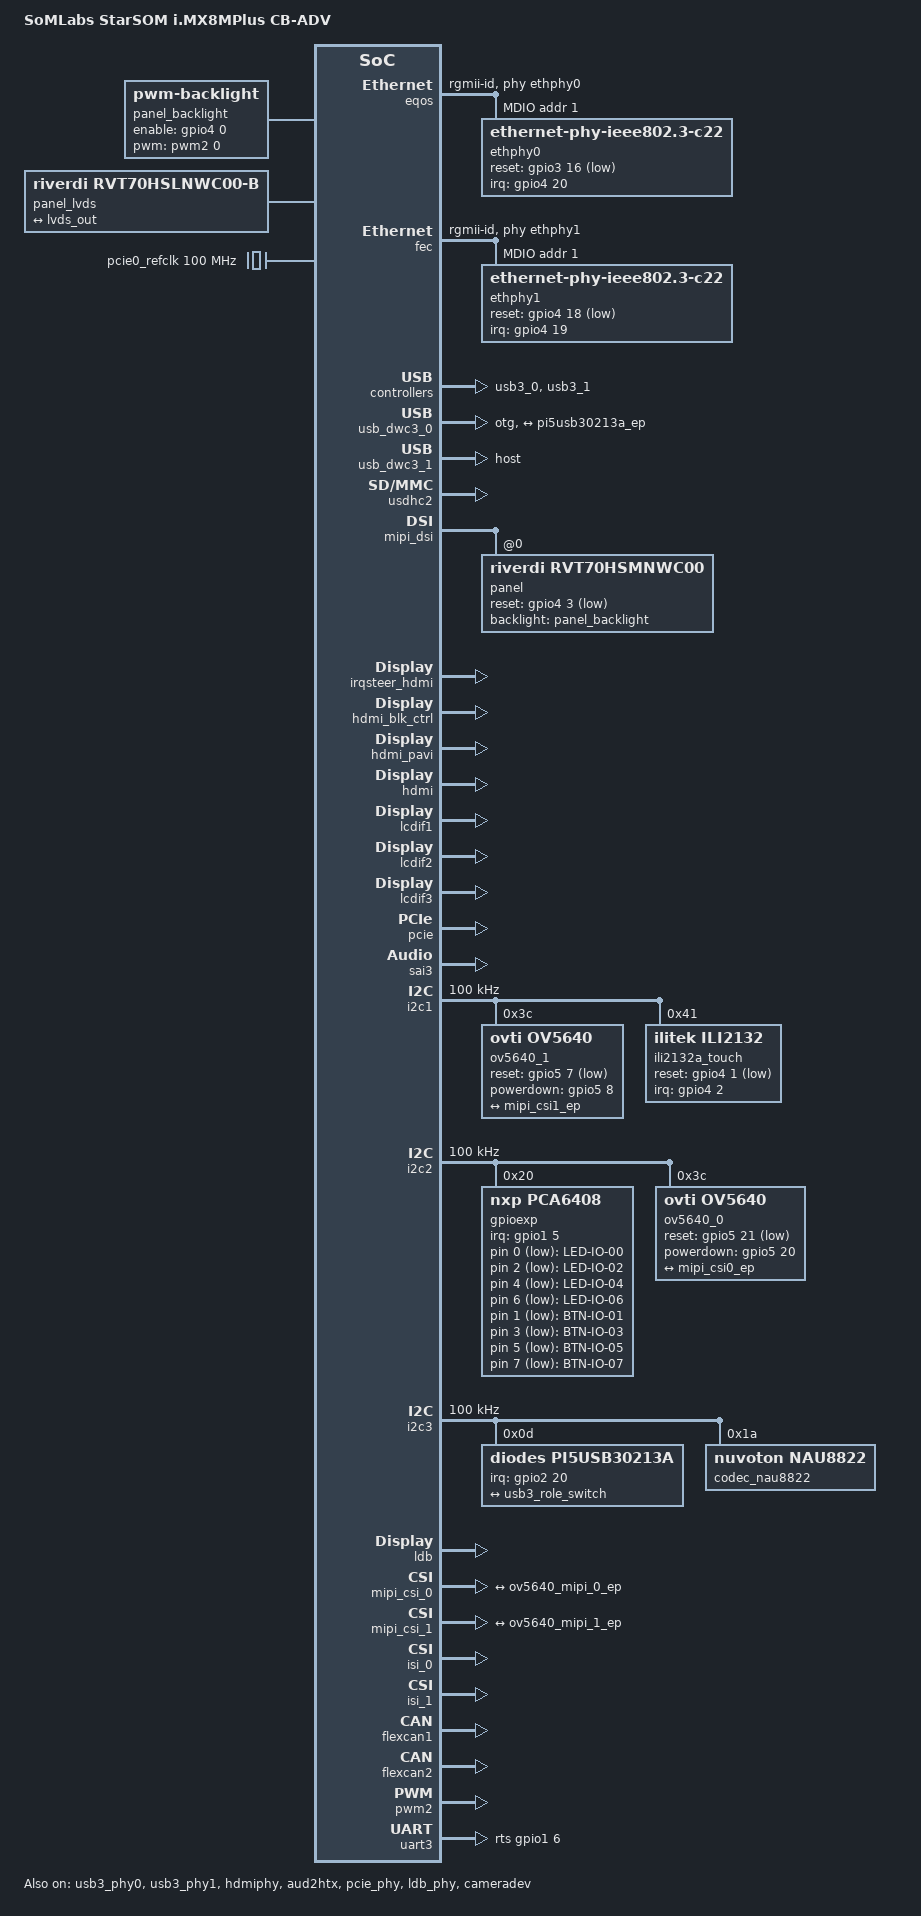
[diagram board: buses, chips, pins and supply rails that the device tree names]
// SPDX-License-Identifier: (GPL-2.0+ OR MIT)
/*
 * Copyright 2026 SomLabs
 *
 */

#include <dt-bindings/phy/phy-imx8-pcie.h>
#include <dt-bindings/pwm/pwm.h>

#include "starsom-8mp.dtsi"

#define LVDS_CHANNEL_0


/ {
        model = "SoMLabs StarSOM i.MX8MPlus CB-ADV";

	cb_leds {
		compatible = "gpio-leds";

		led-io-00 {
			label = "LED-IO-00";
			gpios = <&gpioexp 0 1>;
			default-state = "off";
		};
		led-io-02 {
			label = "LED-IO-02";
			gpios = <&gpioexp 2 1>;
			default-state = "off";
		};
		led-io-04 {
			label = "LED-IO-04";
			gpios = <&gpioexp 4 1>;
			default-state = "off";
		};
		led-io-06 {
			label = "LED-IO-06";
			gpios = <&gpioexp 6 1>;
			default-state = "off";
		};
	};

	gpio_buttons: gpio_buttons0 {
		compatible = "gpio-keys";
		poll-interval = <100>;

		switch1 {
			label = "BTN-IO-01";
			linux,code = <0x100>;
			gpios = <&gpioexp 1 GPIO_ACTIVE_LOW>;
		};

		switch2 {
			label = "BTN-IO-03";
			linux,code = <0x101>;
			gpios = <&gpioexp 3 GPIO_ACTIVE_LOW>;
		};

		switch3 {
			label = "BTN-IO-05";
			linux,code = <0x102>;
			gpios = <&gpioexp 5 GPIO_ACTIVE_LOW>;
		};

		switch4 {
			label = "BTN-IO-07";
			linux,code = <0x103>;
			gpios = <&gpioexp 7 GPIO_ACTIVE_LOW>;
		};
	};

        panel_backlight: panel-backlight {
                compatible = "pwm-backlight";
                pinctrl-names = "default";
                pinctrl-0 = <&pinctrl_panel_backlight_en>;
                pwms = <&pwm2 0 25000 PWM_POLARITY_INVERTED>;

                brightness-levels = < 0  1  2  3  4  5  6  7  8  9
                                     10 11 12 13 14 15 16 17 18 19
                                     20 21 22 23 24 25 26 27 28 29
                                     30 31 32 33 34 35 36 37 38 39
                                     40 41 42 43 44 45 46 47 48 49
                                     50 51 52 53 54 55 56 57 58 59
                                     60 61 62 63 64 65 66 67 68 69
                                     70 71 72 73 74 75 76 77 78 79
                                     80 81 82 83 84 85 86 87 88 89
                                     90 91 92 93 94 95 96 97 98 99
                                     100>;
                default-brightness-level = <80>;

                enable-gpios = <&gpio4 0 0>;
        };

        panel_lvds {
                compatible = "riverdi,rvt70hslnwc00-b";
                port {
                        panel_lvds_in: endpoint {
                                remote-endpoint = <&lvds_out>;
                        };
                };
        };

        sound {
                /* generic sound card */
                compatible = "simple-audio-card";
                simple-audio-card,name = "nau8822";

                simple-audio-card,widgets =
                        "Headphones", "Headphones",
                        "Line Out", "Line Out",
                        "Speaker", "Speaker",
                        "Microphone", "Mic In";
                simple-audio-card,routing =
                        "Headphones", "LHP",
                        "Headphones", "RHP",
                        "Speaker", "LSPK",
                        "Speaker", "RSPK",
                        "Line Out", "AUXOUT1",
                        "Line Out", "AUXOUT2",
                        "LMICP",    "Mic In",
                        "RMICP",    "Mic In";

                simple-audio-card,format = "i2s";
                simple-audio-card,bitclock-master = <&dailink_master>;
                simple-audio-card,frame-master = <&dailink_master>;

                simple-audio-card,cpu {
                        sound-dai = <&sai3>;
                };

                dailink_master: simple-audio-card,codec {
                        sound-dai = <&codec_nau8822>;
                        clocks = <&audio_blk_ctrl IMX8MP_CLK_AUDIOMIX_SAI3_MCLK1>;
                        clock-names = "mclk";
                };
        };

        sound-hdmi {
                compatible = "fsl,imx-audio-cdnhdmi";
                model = "audio-hdmi";
                audio-cpu = <&aud2htx>;
                hdmi-out;
                constraint-rate = <44100>,
                                <88200>,
                                <176400>,
                                <32000>,
                                <48000>,
                                <96000>,
                                <192000>;
                status = "okay";
        };

        pcie0_refclk: pcie0-refclk {
                compatible = "fixed-clock";
                #clock-cells = <0>;
                clock-frequency = <100000000>;
        };
};

&eqos {
        pinctrl-names = "default";
        pinctrl-0 = <&pinctrl_eqos>;
        phy-mode = "rgmii-id";
        phy-handle = <&ethphy0>;
        snps,force_thresh_dma_mode;
        snps,mtl-tx-config = <&mtl_tx_setup>;
        snps,mtl-rx-config = <&mtl_rx_setup>;
        status = "okay";

        mdio {
                compatible = "snps,dwmac-mdio";
                #address-cells = <1>;
                #size-cells = <0>;

                ethphy0: ethernet-phy@1 {
                        compatible = "ethernet-phy-ieee802.3-c22";
                        reg = <1>;
                        eee-broken-1000t;
                        reset-gpios = <&gpio3 16 GPIO_ACTIVE_LOW>;
                        reset-assert-us = <10000>;
                        reset-deassert-us = <80000>;
                        realtek,clkout-disable;
                        interrupt-parent = <&gpio4>;
                        interrupts = <20 IRQ_TYPE_LEVEL_LOW>;
                };
        };

        mtl_tx_setup: tx-queues-config {
                snps,tx-queues-to-use = <5>;
                snps,tx-sched-sp;
                queue0 {
                        snps,dcb-algorithm;
                        snps,priority = <0x1>;
                };
                queue1 {
                        snps,dcb-algorithm;
                        snps,priority = <0x2>;
                };
                queue2 {
                        snps,dcb-algorithm;
                        snps,priority = <0x4>;
                };
                queue3 {
                        snps,dcb-algorithm;
                        snps,priority = <0x8>;
                };
                queue4 {
                        snps,dcb-algorithm;
                        snps,priority = <0xf0>;
                };
        };

        mtl_rx_setup: rx-queues-config {
                snps,rx-queues-to-use = <5>;
                snps,rx-sched-sp;
                queue0 {
                        snps,dcb-algorithm;
                        snps,priority = <0x1>;
                        snps,map-to-dma-channel = <0>;
                };
                queue1 {
                        snps,dcb-algorithm;
                        snps,priority = <0x2>;
                        snps,map-to-dma-channel = <1>;
                };
                queue2 {
                        snps,dcb-algorithm;
                        snps,priority = <0x4>;
                        snps,map-to-dma-channel = <2>;
                };
                queue3 {
                        snps,dcb-algorithm;
                        snps,priority = <0x8>;
                        snps,map-to-dma-channel = <3>;
                };
                queue4 {
                        snps,dcb-algorithm;
                        snps,priority = <0xf0>;
                        snps,map-to-dma-channel = <4>;
                };
        };
};

&fec {
        pinctrl-names = "default";
        pinctrl-0 = <&pinctrl_fec>;
        phy-mode = "rgmii-id";
        phy-handle = <&ethphy1>;
        fsl,magic-packet;
        status = "okay";

        mdio {
                #address-cells = <1>;
                #size-cells = <0>;

                ethphy1: ethernet-phy@1 {
                        compatible = "ethernet-phy-ieee802.3-c22";
                        reg = <1>;
                        eee-broken-1000t;
                        reset-gpios = <&gpio4 18 GPIO_ACTIVE_LOW>;
                        reset-assert-us = <10000>;
                        reset-deassert-us = <80000>;
                        realtek,aldps-enable;
                        realtek,clkout-disable;
                        interrupt-parent = <&gpio4>;
                        interrupts = <19 IRQ_TYPE_LEVEL_LOW>;
                };
        };
};

&iomuxc {
        pinctrl-names = "default";
        pinctrl-0 = <&pinctrl_hog>;

        pinctrl_hog: hoggrp {
                fsl,pins = <
                        MX8MP_IOMUXC_HDMI_DDC_SCL__HDMIMIX_HDMI_SCL     0x400001c3
                        MX8MP_IOMUXC_HDMI_DDC_SDA__HDMIMIX_HDMI_SDA     0x400001c3
                        MX8MP_IOMUXC_HDMI_HPD__HDMIMIX_HDMI_HPD         0x40000019
                        MX8MP_IOMUXC_HDMI_CEC__HDMIMIX_HDMI_CEC         0x40000019
                >;
        };

        pinctrl_panel_backlight_en: panel_backlight_en {
                fsl,pins = <
                        MX8MP_IOMUXC_SAI1_RXFS__GPIO4_IO00              0x19
                >;
        };

        pinctrl_panel_backlight_pwm: panel_backlight_pwm {
                fsl,pins = <
                        MX8MP_IOMUXC_GPIO1_IO09__PWM2_OUT               0x19
                >;
        };

        pinctrl_panel_reset: panel_reset {
                fsl,pins = <
                        MX8MP_IOMUXC_SAI1_RXD1__GPIO4_IO03               0x19
                >;
        };

        pinctrl_csi0: csi0_grp {
                fsl,pins = <
                        MX8MP_IOMUXC_I2C4_SDA__GPIO5_IO21               0x19
                        MX8MP_IOMUXC_I2C4_SCL__GPIO5_IO20               0x19
                >;
        };

        pinctrl_csi1: csi1_grp {
                fsl,pins = <
                        MX8MP_IOMUXC_ECSPI1_MOSI__GPIO5_IO07            0x19
                        MX8MP_IOMUXC_ECSPI1_MISO__GPIO5_IO08            0x19
                >;
        };

        pinctrl_eqos: eqosgrp {
                fsl,pins = <
                        MX8MP_IOMUXC_ENET_MDC__ENET_QOS_MDC                             0x3
                        MX8MP_IOMUXC_ENET_MDIO__ENET_QOS_MDIO                           0x3
                        MX8MP_IOMUXC_ENET_RD0__ENET_QOS_RGMII_RD0                       0x91
                        MX8MP_IOMUXC_ENET_RD1__ENET_QOS_RGMII_RD1                       0x91
                        MX8MP_IOMUXC_ENET_RD2__ENET_QOS_RGMII_RD2                       0x91
                        MX8MP_IOMUXC_ENET_RD3__ENET_QOS_RGMII_RD3                       0x91
                        MX8MP_IOMUXC_ENET_RXC__CCM_ENET_QOS_CLOCK_GENERATE_RX_CLK       0x91
                        MX8MP_IOMUXC_ENET_RX_CTL__ENET_QOS_RGMII_RX_CTL                 0x91
                        MX8MP_IOMUXC_ENET_TD0__ENET_QOS_RGMII_TD0                       0x1f
                        MX8MP_IOMUXC_ENET_TD1__ENET_QOS_RGMII_TD1                       0x1f
                        MX8MP_IOMUXC_ENET_TD2__ENET_QOS_RGMII_TD2                       0x1f
                        MX8MP_IOMUXC_ENET_TD3__ENET_QOS_RGMII_TD3                       0x1f
                        MX8MP_IOMUXC_ENET_TX_CTL__ENET_QOS_RGMII_TX_CTL                 0x1f
                        MX8MP_IOMUXC_ENET_TXC__CCM_ENET_QOS_CLOCK_GENERATE_TX_CLK       0x1f
                        MX8MP_IOMUXC_NAND_READY_B__GPIO3_IO16                           0x19    /* phy reset */
                        MX8MP_IOMUXC_SAI1_MCLK__GPIO4_IO20                              0x41    /* phy int */
                >;
        };

        pinctrl_fec: fecgrp {
                fsl,pins = <
                        MX8MP_IOMUXC_SAI1_RXD2__ENET1_MDC               0x3
                        MX8MP_IOMUXC_SAI1_RXD3__ENET1_MDIO              0x3
                        MX8MP_IOMUXC_SAI1_RXD4__ENET1_RGMII_RD0         0x91
                        MX8MP_IOMUXC_SAI1_RXD5__ENET1_RGMII_RD1         0x91
                        MX8MP_IOMUXC_SAI1_RXD6__ENET1_RGMII_RD2         0x91
                        MX8MP_IOMUXC_SAI1_RXD7__ENET1_RGMII_RD3         0x91
                        MX8MP_IOMUXC_SAI1_TXC__ENET1_RGMII_RXC          0x91
                        MX8MP_IOMUXC_SAI1_TXFS__ENET1_RGMII_RX_CTL      0x91
                        MX8MP_IOMUXC_SAI1_TXD0__ENET1_RGMII_TD0         0x1f
                        MX8MP_IOMUXC_SAI1_TXD1__ENET1_RGMII_TD1         0x1f
                        MX8MP_IOMUXC_SAI1_TXD2__ENET1_RGMII_TD2         0x1f
                        MX8MP_IOMUXC_SAI1_TXD3__ENET1_RGMII_TD3         0x1f
                        MX8MP_IOMUXC_SAI1_TXD4__ENET1_RGMII_TX_CTL      0x1f
                        MX8MP_IOMUXC_SAI1_TXD5__ENET1_RGMII_TXC         0x1f
                        MX8MP_IOMUXC_SAI1_TXD6__GPIO4_IO18              0x19    /* phy reset */
                        MX8MP_IOMUXC_SAI1_TXD7__GPIO4_IO19              0x41    /* phy int */
                >;
        };

        pinctrl_touch: touch_grp {
                fsl,pins = <
                        MX8MP_IOMUXC_SAI1_RXC__GPIO4_IO01                0x19
                        MX8MP_IOMUXC_SAI1_RXD0__GPIO4_IO02              0x1c0
                >;
        };

        pinctrl_sai3: sai3grp {
                fsl,pins = <
                        MX8MP_IOMUXC_SAI3_RXFS__AUDIOMIX_SAI3_RX_SYNC	0xd6
                        MX8MP_IOMUXC_SAI3_RXC__AUDIOMIX_SAI3_RX_BCLK	0xd6
                        MX8MP_IOMUXC_SAI3_RXD__AUDIOMIX_SAI3_RX_DATA00	0xd6
                        MX8MP_IOMUXC_SAI3_TXD__AUDIOMIX_SAI3_TX_DATA00	0xd6
                        MX8MP_IOMUXC_SAI3_MCLK__AUDIOMIX_SAI3_MCLK	0xd6
                >;
        };

        pinctrl_uart3_rts: uart3rtsgrp {
                fsl,pins = <
                        MX8MP_IOMUXC_GPIO1_IO06__GPIO1_IO06             0x19
                >;
        };

        pinctrl_typec: typec1grp {
                fsl,pins = <
                        MX8MP_IOMUXC_SD2_WP__GPIO2_IO20                 0x1c4
                >;
        };

	pinctrl_gpioexp: gpioexpgrp {
		fsl,pins = <
			MX8MP_IOMUXC_GPIO1_IO05__GPIO1_IO05             0x35e
		>;
	};
};

&usb3_phy0 {
        fsl,phy-tx-vref-tune = <0xe>;
        fsl,phy-tx-preemp-amp-tune = <3>;
        fsl,phy-tx-vboost-level = <5>;
        fsl,phy-comp-dis-tune = <7>;
        fsl,pcs-tx-deemph-3p5db = <0x21>;
        fsl,phy-pcs-tx-swing-full = <0x7f>;
        status = "okay";
};

&usb3_0 {
        status = "okay";
};

&usb_dwc3_0 {
        pinctrl-names = "default";
        pinctrl-0 = <&pinctrl_usb0_vbus>;
        dr_mode = "otg";
        hnp-disable;
        srp-disable;
        adp-disable;
        usb-role-switch;
//      role-switch-default-mode = "none";
        status = "okay";

        port {
                usb3_role_switch: endpoint {
                        remote-endpoint = <&pi5usb30213a_ep>;
                };
        };
};

&usb3_phy1 {
        fsl,phy-tx-preemp-amp-tune = <3>;
        fsl,phy-tx-vref-tune = <0xb>;
        status = "okay";
};

&usb3_1 {
        status = "okay";
};

&usb_dwc3_1 {
        pinctrl-names = "default";
        pinctrl-0 = <&pinctrl_usb1_vbus>;
        dr_mode = "host";
        status = "okay";
};

&usdhc2 {       /* SD card socket */
	no-1-8-v;
	status = "okay";
};

&mipi_dsi {
        status = "okay";

        panel@0 {
		data-lanes = <0 1 2 3>;
		lane-polarities = <1 1 1 1 1>;
                compatible = "riverdi,rvt70hsmnwc00";
                reg = <0>;
                pinctrl-names = "default";
                pinctrl-0 = <&pinctrl_panel_reset>;
                reset-gpios = <&gpio4 3 GPIO_ACTIVE_LOW>;
                backlight = <&panel_backlight>;
                status = "okay";
    	};
};

&irqsteer_hdmi {
        status = "okay";
};

&hdmi_blk_ctrl {
        status = "okay";
};

&hdmi_pavi {
        status = "okay";
};

&hdmi {
        status = "okay";
};

&hdmiphy {
        status = "okay";
};

&aud2htx {
	status = "okay";
};

&lcdif1 {
        status = "okay";
};

&lcdif2 {
        status = "okay";
};

&lcdif3 {
        status = "okay";

        thres-low  = <1 2>;             /* (FIFO * 1 / 2) */
        thres-high = <3 4>;             /* (FIFO * 3 / 4) */
};

&pcie{
        clocks = <&clk IMX8MP_CLK_HSIO_ROOT>,
                 <&clk IMX8MP_CLK_PCIE_ROOT>,
                 <&clk IMX8MP_CLK_HSIO_AXI>;
        clock-names = "pcie", "pcie_aux", "pcie_bus";
        assigned-clocks = <&clk IMX8MP_CLK_PCIE_AUX>;
        assigned-clock-rates = <10000000>;
        assigned-clock-parents = <&clk IMX8MP_SYS_PLL2_50M>;
        status = "okay";
};

&pcie_phy {
        fsl,refclk-pad-mode = <IMX8_PCIE_REFCLK_PAD_OUTPUT>;
        clocks = <&hsio_blk_ctrl>;
        clock-names = "ref";
        status = "okay";
};

&sai3 {
        pinctrl-names = "default";
        pinctrl-0 = <&pinctrl_sai3>;
        assigned-clocks = <&clk IMX8MP_CLK_SAI3>;
        assigned-clock-parents = <&clk IMX8MP_AUDIO_PLL1_OUT>;
        assigned-clock-rates = <12288000>;
        clocks = <&audio_blk_ctrl IMX8MP_CLK_AUDIOMIX_SAI3_IPG>, <&clk IMX8MP_CLK_DUMMY>,
                 <&audio_blk_ctrl IMX8MP_CLK_AUDIOMIX_SAI3_MCLK1>, <&clk IMX8MP_CLK_DUMMY>,
                 <&clk IMX8MP_CLK_DUMMY>;
        clock-names = "bus", "mclk0", "mclk1", "mclk2", "mclk3";
        fsl,sai-synchronous-rx;
        fsl,sai-mclk-direction-output;
        #sound-dai-cells = <0>;
        status = "okay";
};

&i2c1 {
        clock-frequency = <100000>;
        status = "okay";

        ov5640_1: ov5640_mipi@3c {
                compatible = "ovti,ov5640";
                reg = <0x3c>;
                pinctrl-names = "default";
                pinctrl-0 = <&pinctrl_csi1>;
                clocks = <&clk IMX8MP_CLK_IPP_DO_CLKO2>;
                clock-names = "xclk";
                assigned-clocks = <&clk IMX8MP_CLK_IPP_DO_CLKO2>;
                assigned-clock-parents = <&clk IMX8MP_CLK_24M>;
                assigned-clock-rates = <24000000>;
                reset-gpios = <&gpio5 7 GPIO_ACTIVE_LOW>;
                powerdown-gpios = <&gpio5 8 GPIO_ACTIVE_HIGH>;
                status = "okay";

                port {
                        ov5640_mipi_1_ep: endpoint {
                                remote-endpoint = <&mipi_csi1_ep>;
                                data-lanes = <1 2>;
                                clock-lanes = <0>;
                        };
                };
        };

        ili2132a_touch: ili2132a@41 {
                compatible = "ilitek,ili2132";
                reg = <0x41>;
                pinctrl-names = "default";
                pinctrl-0 = <&pinctrl_touch>;
                interrupt-parent = <&gpio4>;
                interrupts = <2 IRQ_TYPE_EDGE_FALLING>;
                reset-gpios = <&gpio4 1 GPIO_ACTIVE_LOW>;
        };
};

&i2c2 {
	clock-frequency = <100000>;
        status = "okay";

	gpioexp: gpio@20 {
		compatible = "nxp,pca6408";
		reg = <0x20>;

		pinctrl-names = "default";
		pinctrl-0 = <&pinctrl_gpioexp>;

		interrupt-parent = <&gpio1>;
		interrupts = <5 IRQ_TYPE_LEVEL_LOW>; /* GPIO1-IO05 */
		interrupt-controller;
		#interrupt-cells = <2>;

		gpio-controller;
		#gpio-cells = <2>;
		gpio-line-names =
			"I2C-EXP-0",
			"I2C-EXP-1",
			"I2C-EXP-2",
			"I2C-EXP-3",
			"I2C-EXP-4",
			"I2C-EXP-5",
			"I2C-EXP-6",
			"I2C-EXP-7";
	};

        ov5640_0: ov5640_mipi@3c {
                compatible = "ovti,ov5640";
                reg = <0x3c>;
                pinctrl-names = "default";
                pinctrl-0 = <&pinctrl_csi0>;
                clocks = <&clk IMX8MP_CLK_IPP_DO_CLKO2>;
                clock-names = "xclk";
                assigned-clocks = <&clk IMX8MP_CLK_IPP_DO_CLKO2>;
                assigned-clock-parents = <&clk IMX8MP_CLK_24M>;
                assigned-clock-rates = <24000000>;
                reset-gpios = <&gpio5 21 GPIO_ACTIVE_LOW>;
                powerdown-gpios = <&gpio5 20 GPIO_ACTIVE_HIGH>;
                status = "okay";

                port {
                        ov5640_mipi_0_ep: endpoint {
                                remote-endpoint = <&mipi_csi0_ep>;
                                data-lanes = <1 2>;
                                clock-lanes = <0>;
                        };
                };
        };

};

&i2c3 {
        clock-frequency = <100000>;
        status = "okay";

        pi5usb30213a: tcpc@d {
                compatible = "diodes,pi5usb30213a";
                pinctrl-names = "default";
                pinctrl-0 = <&pinctrl_typec>;
                reg = <0x0d>;
                interrupt-parent = <&gpio2>;
                interrupts = <20 IRQ_TYPE_LEVEL_LOW>;

                connector {
                        compatible = "usb-c-connector";
                        label = "USB-C";
                        power-role = "dual";
                        data-role = "dual";
                        self-powered;
                        ports {
                                #address-cells = <1>;
                                #size-cells = <0>;

                                port@1 {
                                        reg = <1>;
                                        pi5usb30213a_ep: endpoint {
                                                remote-endpoint = <&usb3_role_switch>;
                                        };
                                };
                        };
                };
        };

        codec_nau8822: nau8822@1a {
                compatible = "nuvoton,nau8822";
                reg = <0x1a>;
		clocks = <&audio_blk_ctrl IMX8MP_CLK_AUDIOMIX_SAI3_MCLK1>;
		clock-names = "mclk";
                #sound-dai-cells = <0>;
                status = "okay";
        };

};


&ldb {
        status = "okay";

#ifdef LVDS_CHANNEL_0
        lvds-channel@0 {
                fsl,data-mapping = "spwg";
                fsl,data-width = <24>;
                status = "okay";

                port@1 {
                        reg = <1>;
                        lvds_out: endpoint {
                                remote-endpoint = <&panel_lvds_in>;
                        };
                };
        };
#else
        lvds-channel@1 {
			#address-cells = <1>;
			#size-cells = <0>;

                fsl,data-mapping = "spwg";
                fsl,data-width = <24>;
                status = "okay";

                port@1 {
                        reg = <1>;
                        lvds_out: endpoint {
                                remote-endpoint = <&panel_lvds_in>;
                        };
                };
        };
#endif
};

&ldb_phy {
        status = "okay";
};

&mipi_csi_0 {
        status = "okay";

        port {
                mipi_csi0_ep: endpoint {
                        remote-endpoint = <&ov5640_mipi_0_ep>;
                        data-lanes = <2>;
                        csis-hs-settle = <13>;
                        csis-clk-settle = <2>;
                        csis-wclk;
                };
        };
};

&mipi_csi_1 {
        #address-cells = <1>;
        #size-cells = <0>;
        // status = "okay";

        port@1 {
                reg = <1>;
                mipi_csi1_ep: endpoint {
                        remote-endpoint = <&ov5640_mipi_1_ep>;
                        data-lanes = <2>;
                        csis-hs-settle = <13>;
                        csis-clk-settle = <2>;
                        csis-wclk;
                };
        };
};

&cameradev {
        status = "okay";
};

&isi_0 {
        status = "okay";

        cap_device {
                status = "okay";
        };

        m2m_device {
                status = "okay";
        };
};

&isi_1 {
        status = "okay";

        cap_device {
                status = "okay";
        };
};

&flexcan1 {
        status = "okay";
};

&flexcan2 {
        status = "okay";
};

&pwm2 {
    pinctrl-names = "default";
    pinctrl-0 = <&pinctrl_panel_backlight_pwm>;
    status = "okay";
};

&uart3 {
     pinctrl-0 = <&pinctrl_uart3 &pinctrl_uart3_rts>;
     rts-gpios = <&gpio1 6 GPIO_ACTIVE_HIGH>;
     linux,rs485-enabled-at-boot-time;
     status = "okay";
};
